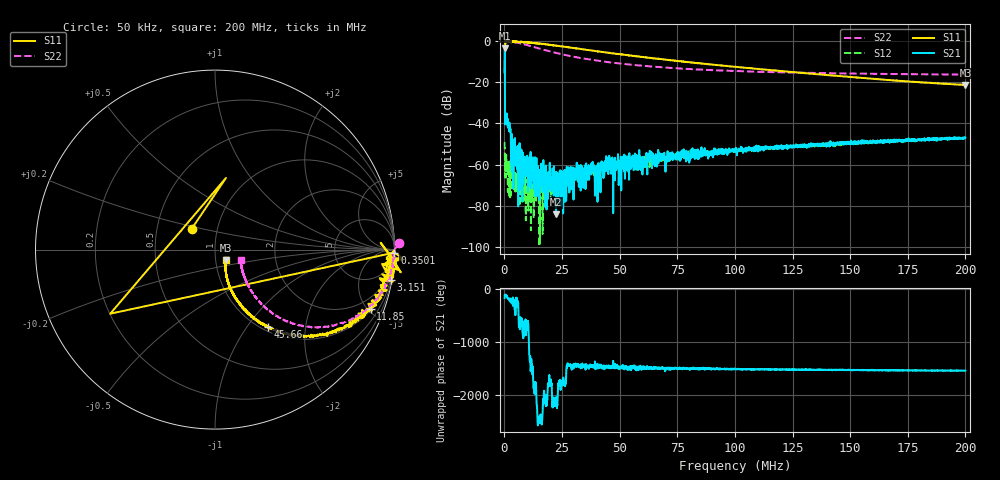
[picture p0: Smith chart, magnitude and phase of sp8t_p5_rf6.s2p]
! 26-Feb-26 12:21:20 PM
! E:\VNA_MEASUREMENTS\SP8T\SP8T_P5_RF6.S2P
! CHANNEL.1
! TR.MEASUREMENT
! CORRECTED.DATA
# GHZ S RI R 50.0
! FREQ.GHZ  S11RE  S11IM  S21RE  S21IM  S12RE  S12IM  S22RE  S22IM
!; PortSelection: Port_12
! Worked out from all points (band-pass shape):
!   2000 points, 50 kHz to 200 MHz, reference 50 ohm
!   highest |S21| = -3.41 dB at 150 kHz (marker M1); lowest = -84.2 dB at 22.36 MHz (marker M2)
!   |S21| within 3 dB of the highest: 124 kHz to 158.1 kHz (34.13 kHz wide, 24.2 % of centre)
!   lowest |S11| = -21.3 dB at 200 MHz (marker M3), VSWR 1.19, Z = 56.3 - j6.71 ohm
!   |S11| at or under -10 dB: start of sweep to 121 kHz; 78.30424 MHz to 78.44471 MHz (140.5 kHz wide, 0.179 % of centre); 78.5 MHz to end of sweep
!   |S22| runs from -16.3 to 0.2 dB; largest |S21 - S12| = 0.68
!   S11 on the Smith chart (normalised r, x): 50 kHz: 0.75, +0.18; 350.1 kHz: open; 3.151 MHz: 0, -12; 11.85 MHz: 1.08, -5.20; 45.66 MHz: 1.07, -1.25; 200 MHz: 1.13, -0.13
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5e-05  -0.13 0.1154  -0.175 -0.0373  0.00283 -0.00204  1.025 0.0345
0.000150025  0.0608 0.3991  -0.2082 -0.6426  -0.00172 0.000837  0.9947 -0.00708
0.000350075  0.9996 -0.0166  -0.00731 -0.0143  -0.000471 0.00148  0.9956 -0.0351
0.001350325  0.9885 -0.0614  -0.0131 -0.000129  0.000393 -0.00019  0.9885 -0.0876
0.003150775  0.9811 -0.1684  6.78e-05 0.000669  1.19e-05 0.000573  0.9489 -0.1949
0.005651401  0.9565 -0.1773  0.000434 0.0028  -0.000338 0.000163  0.8596 -0.3177
0.01185295  0.8673 -0.3318  0.000216 -0.000361  0.000254 -9.79e-05  0.6134 -0.4306
0.02145535  0.6407 -0.4594  0.000628 0.000663  0.000294 0.000233  0.3714 -0.3883
0.02235558  0.6277 -0.4618  2.07e-05 5.78e-05  0.000367 0.000137  0.3575 -0.3791
0.02435608  0.5863 -0.4759  -3.33e-05 -9.47e-05  0.00024 0.00018  0.332 -0.3623
0.02585645  0.5602 -0.4809  0.000341 0.000208  0.000417 -7.63e-05  0.3134 -0.3497
0.02795698  0.5222 -0.4792  0.000437 -8.36e-05  0.000511 -8.13e-05  0.2915 -0.334
0.03345835  0.4338 -0.4747  0.000783 -0.000507  0.000571 -0.000269  0.2517 -0.2946
0.03795948  0.372 -0.4618  0.00109 0.00012  0.000693 -0.000128  0.2292 -0.2682
0.04076018  0.342 -0.4461  0.001 -0.000425  0.000723 -0.000202  0.2173 -0.2536
0.04566141  0.293 -0.4293  0.000992 -0.000371  0.00082 -0.00026  0.2024 -0.2305
0.04786196  0.2743 -0.4197  0.000728 -0.00128  0.000749 -0.000669  0.1976 -0.2215
0.06676668  0.1715 -0.3362  0.000778 -0.000737  0.000885 -0.00132  0.1694 -0.1649
0.100075  0.0892 -0.2228  0.000798 -0.00192  0.000613 -0.00206  0.1518 -0.1134
0.1333833  0.064 -0.1485  -0.00016 -0.00307  0.00014 -0.0027  0.1459 -0.0869
0.1666917  0.0587 -0.0975  -0.000623 -0.00381  -0.000254 -0.00369  0.1436 -0.0712
0.2  0.0627 -0.0592  -0.00101 -0.00437  -0.00115 -0.00415  0.1423 -0.0597
